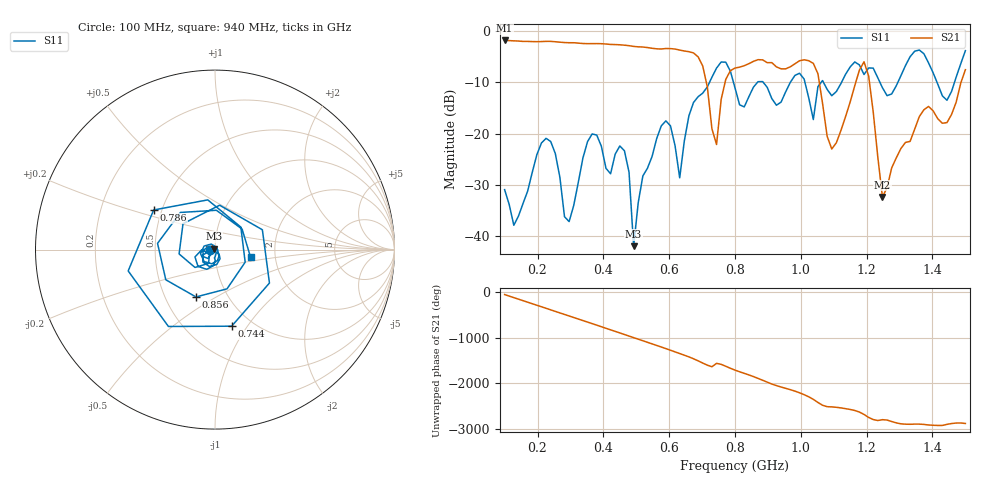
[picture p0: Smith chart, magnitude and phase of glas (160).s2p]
! NanoVNA-App
! Date: 2025-09-25 15:56:43
! Start: 100MHz Stop: 1,5GHz Points: 101
! S-Parameter data: F S11 S21 S12 S22
# Hz S RI R 50
!  Frequency  S11_Real  S11_Imag  S21_Real  S21_Imag  S12_Real  S12_Imag  S22_Real  S22_Imag
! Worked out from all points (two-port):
!   101 points, 100 MHz to 1.5 GHz, reference 50 ohm
!   highest |S21| = -1.80 dB at 100 MHz (marker M1); lowest = -32.4 dB at 1.248 GHz (marker M2)
!   |S21| within 3 dB of the highest: start of sweep to 684.2 MHz
!   lowest |S11| = -42.0 dB at 492 MHz (marker M3), VSWR 1.02, Z = 49.5 + j0.606 ohm
!   |S11| at or under -10 dB: start of sweep to 722.4 MHz; 795.4 MHz to 868.1 MHz (72.66 MHz wide, 8.74 % of centre); 886 MHz to 967.9 MHz (81.97 MHz wide, 8.84 % of centre) (the widest 3 of 7)
!   S12 and S22 are empty: the file has one direction only
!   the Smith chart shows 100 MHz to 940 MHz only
!   S11 on the Smith chart (normalised r, x): 100 MHz: 0.95, -0.01; 744 MHz: 0.80, -0.85; 786 MHz: 0.45, +0.24; 856 MHz: 0.71, -0.41; 940 MHz: 1.49, -0.13
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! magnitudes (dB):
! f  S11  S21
! 100 MHz  -31.0  -1.8
! 128 MHz  -37.9  -1.9
! 226 MHz  -20.9  -2.0
! 296 MHz  -37.2  -2.2
! 338 MHz  -24.8  -2.4
! 464 MHz  -23.3  -2.7
! 492 MHz  -42.0  -3.0
! 576 MHz  -18.5  -3.5
! 632 MHz  -28.6  -3.7
! 702 MHz  -12.1  -6.8
! 744 MHz  -7.2  -22.1
! 786 MHz  -7.8  -7.7
! 800 MHz  -11.1  -7.2
! 856 MHz  -10.9  -5.9
! 940 MHz  -13.8  -7.3
! 996 MHz  -8.2  -5.8
! 1.038 GHz  -17.3  -6.3
! 1.094 GHz  -12.6  -23.0
! 1.192 GHz  -8.5  -6.0
! 1.248 GHz  -11.0  -32.4
! 1.276 GHz  -12.3  -26.7
! 1.5 GHz  -3.8  -7.5
